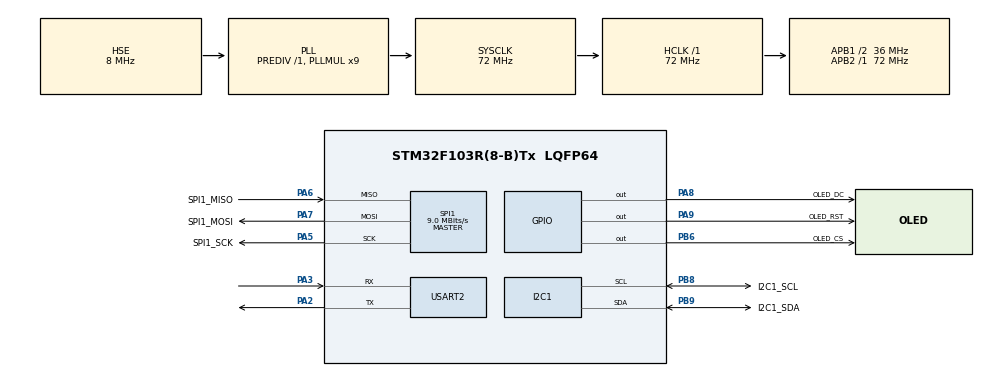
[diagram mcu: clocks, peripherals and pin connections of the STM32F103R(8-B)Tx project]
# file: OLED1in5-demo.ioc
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Mcu.Family=STM32F1
Mcu.Name=STM32F103R(8-B)Tx
Mcu.Package=LQFP64
NVIC.PriorityGroup=NVIC_PRIORITYGROUP_4
PA13.Mode=Serial_Wire
PA13.Signal=SYS_JTMS-SWDIO
PA14.Mode=Serial_Wire
PA14.Signal=SYS_JTCK-SWCLK
PA2.Mode=Asynchronous
PA2.Signal=USART2_TX
PA3.Mode=Asynchronous
PA3.Signal=USART2_RX
PA5.GPIO_Label=SPI1_SCK
PA5.Mode=Full_Duplex_Master
PA5.Signal=SPI1_SCK
PA6.GPIO_Label=SPI1_MISO
PA6.Mode=Full_Duplex_Master
PA6.Signal=SPI1_MISO
PA7.GPIO_Label=SPI1_MOSI
PA7.Mode=Full_Duplex_Master
PA7.Signal=SPI1_MOSI
PA8.GPIO_Label=OLED_DC
PA8.Signal=GPIO_Output
PA9.GPIO_Label=OLED_RST
PA9.Signal=GPIO_Output
PB6.GPIO_Label=OLED_CS
PB6.Signal=GPIO_Output
PB8.GPIO_Label=I2C1_SCL
PB8.Mode=I2C
PB8.Signal=I2C1_SCL
PB9.GPIO_Label=I2C1_SDA
PB9.Mode=I2C
PB9.Signal=I2C1_SDA
PD0-OSC_IN.Mode=HSE-External-Oscillator
PD0-OSC_IN.Signal=RCC_OSC_IN
PD1-OSC_OUT.Mode=HSE-External-Oscillator
PD1-OSC_OUT.Signal=RCC_OSC_OUT
ProjectManager.HeapSize=0x200
ProjectManager.StackSize=0x400
ProjectManager.TargetToolchain=MDK-ARM V5
RCC.AHBFreq_Value=72000000
RCC.APB1CLKDivider=RCC_HCLK_DIV2
RCC.APB1Freq_Value=36000000
RCC.APB1TimFreq_Value=72000000
RCC.APB2Freq_Value=72000000
RCC.APB2TimFreq_Value=72000000
RCC.HCLKFreq_Value=72000000
RCC.PLLMUL=RCC_PLL_MUL9
RCC.PLLSourceVirtual=RCC_PLLSOURCE_HSE
RCC.SYSCLKFreq_VALUE=72000000
RCC.SYSCLKSource=RCC_SYSCLKSOURCE_PLLCLK
RCC.USBFreq_Value=72000000
SPI1.BaudRatePrescaler=SPI_BAUDRATEPRESCALER_8
SPI1.CalculateBaudRate=9.0 MBits/s
SPI1.Direction=SPI_DIRECTION_2LINES
SPI1.Mode=SPI_MODE_MASTER
SPI1.VirtualType=VM_MASTER
USART2.VirtualMode=VM_ASYNC
board=OLED1in5-demo

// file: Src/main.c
/**
  ******************************************************************************
  * File Name          : main.c
  * Description        : Main program body
  ******************************************************************************
  ** This notice applies to any and all portions of this file
  * that are not between comment pairs USER CODE BEGIN and
  * USER CODE END. Other portions of this file, whether
  * inserted by the user or by software development tools
  * are owned by their respective copyright owners.
  *
  * COPYRIGHT(c) 2017 STMicroelectronics
  *
  * Redistribution and use in source and binary forms, with or without modification,
  * are permitted provided that the following conditions are met:
  *   1. Redistributions of source code must retain the above copyright notice,
  *      this list of conditions and the following disclaimer.
  *   2. Redistributions in binary form must reproduce the above copyright notice,
  *      this list of conditions and the following disclaimer in the documentation
  *      and/or other materials provided with the distribution.
  *   3. Neither the name of STMicroelectronics nor the names of its contributors
  *      may be used to endorse or promote products derived from this software
  *      without specific prior written permission.
  *
  * THIS SOFTWARE IS PROVIDED BY THE COPYRIGHT HOLDERS AND CONTRIBUTORS "AS IS"
  * AND ANY EXPRESS OR IMPLIED WARRANTIES, INCLUDING, BUT NOT LIMITED TO, THE
  * IMPLIED WARRANTIES OF MERCHANTABILITY AND FITNESS FOR A PARTICULAR PURPOSE ARE
  * DISCLAIMED. IN NO EVENT SHALL THE COPYRIGHT HOLDER OR CONTRIBUTORS BE LIABLE
  * FOR ANY DIRECT, INDIRECT, INCIDENTAL, SPECIAL, EXEMPLARY, OR CONSEQUENTIAL
  * DAMAGES (INCLUDING, BUT NOT LIMITED TO, PROCUREMENT OF SUBSTITUTE GOODS OR
  * SERVICES; LOSS OF USE, DATA, OR PROFITS; OR BUSINESS INTERRUPTION) HOWEVER
  * CAUSED AND ON ANY THEORY OF LIABILITY, WHETHER IN CONTRACT, STRICT LIABILITY,
  * OR TORT (INCLUDING NEGLIGENCE OR OTHERWISE) ARISING IN ANY WAY OUT OF THE USE
  * OF THIS SOFTWARE, EVEN IF ADVISED OF THE POSSIBILITY OF SUCH DAMAGE.
  *
  ******************************************************************************
  */
#include "main.h"
#include "stm32f1xx_hal.h"
#include "i2c.h"
#include "spi.h"
#include "usart.h"
#include "gpio.h"

/* USER CODE BEGIN Includes */
#include "OLED_Driver.h"
#include "OLED_GUI.h"

/* USER CODE END Includes */

/* USER CODE BEGIN PV */
/* Private variables ---------------------------------------------------------*/

/* USER CODE END PV */

void SystemClock_Config(void);

/* USER CODE BEGIN PFP */
/* Private function prototypes -----------------------------------------------*/

/* USER CODE END PFP */

int main(void)
{

  /* MCU Configuration----------------------------------------------------------*/

  /* Reset of all peripherals, Initializes the Flash interface and the Systick. */
  HAL_Init();

  /* Configure the system clock */
  SystemClock_Config();

  /* Initialize all configured peripherals */
  MX_GPIO_Init();
  MX_USART2_UART_Init();
  MX_I2C1_Init();
  MX_SPI1_Init();

  /* USER CODE BEGIN 2 */
	printf("**********1.5inch OLED Demo**********\r\n");
	System_Init();

	printf("OLED_Init()...\r\n");
	OLED_Init(SCAN_DIR_DFT );//SCAN_DIR_DFT = D2U_L2R

	printf("OLED_Show()...\r\n");
	GUI_Show();

	OLED_Clear(OLED_BACKGROUND);//OLED_BACKGROUND
	OLED_Display();

	printf("Show Pic\r\n");
	GUI_Disbitmap(0  , 2, Signal816  , 16, 8);
	GUI_Disbitmap(24 , 2, Bluetooth88, 8 , 8);
	GUI_Disbitmap(40 , 2, Msg816     , 16, 8);
	GUI_Disbitmap(64 , 2, GPRS88     , 8 , 8);
	GUI_Disbitmap(90 , 2, Alarm88    , 8 , 8);
	GUI_Disbitmap(112, 2, Bat816     , 16, 8);

	printf("Show 16 Gray Map\r\n");
	GUI_DisGrayMap(0, 73, gImage_flower);

	GUI_DisString_EN(0 , 52, "MUSIC", &Font12, FONT_BACKGROUND, WHITE);
	GUI_DisString_EN(48, 52, "MENU" , &Font12, FONT_BACKGROUND, WHITE);
	GUI_DisString_EN(90, 52, "PHONE", &Font12, FONT_BACKGROUND, WHITE);

	OLED_Display();

	printf("Show time\r\n");
  /* USER CODE END 2 */

  /* Infinite loop */
  /* USER CODE BEGIN WHILE */
  while (1)
  {
	uint8_t sec = 0;
	DEV_TIME sDev_time;
	sDev_time.Hour = 12;
	sDev_time.Min = 34;
	sDev_time.Sec = 56;
	for (;;) {
		sec++;
		sDev_time.Sec = sec;
		if (sec == 60) {
			sDev_time.Min = sDev_time.Min + 1;
			sec = 0;
			if (sDev_time.Min == 60) {
				sDev_time.Hour =  sDev_time.Hour + 1;
				sDev_time.Min = 0;
				if (sDev_time.Hour == 24) {
				  sDev_time.Hour = 0;
				  sDev_time.Min = 0;
				  sDev_time.Sec = 0;
				}
			}
		}
		GUI_Showtime(0, 22, 127, 47, &sDev_time, WHITE);
		Driver_Delay_ms(1000);//Analog clock 1s
	}
  /* USER CODE END WHILE */

  }

}

/** System Clock Configuration
*/
void SystemClock_Config(void)
{

  RCC_OscInitTypeDef RCC_OscInitStruct;
  RCC_ClkInitTypeDef RCC_ClkInitStruct;

    /**Initializes the CPU, AHB and APB busses clocks
    */
  RCC_OscInitStruct.OscillatorType = RCC_OSCILLATORTYPE_HSE;
  RCC_OscInitStruct.HSEState = RCC_HSE_ON;
  RCC_OscInitStruct.HSEPredivValue = RCC_HSE_PREDIV_DIV1;
  RCC_OscInitStruct.HSIState = RCC_HSI_ON;
  RCC_OscInitStruct.PLL.PLLState = RCC_PLL_ON;
  RCC_OscInitStruct.PLL.PLLSource = RCC_PLLSOURCE_HSE;
  RCC_OscInitStruct.PLL.PLLMUL = RCC_PLL_MUL9;
  if (HAL_RCC_OscConfig(&RCC_OscInitStruct) != HAL_OK)
  {
    _Error_Handler(__FILE__, __LINE__);
  }

    /**Initializes the CPU, AHB and APB busses clocks
    */
  RCC_ClkInitStruct.ClockType = RCC_CLOCKTYPE_HCLK|RCC_CLOCKTYPE_SYSCLK
                              |RCC_CLOCKTYPE_PCLK1|RCC_CLOCKTYPE_PCLK2;
  RCC_ClkInitStruct.SYSCLKSource = RCC_SYSCLKSOURCE_PLLCLK;
  RCC_ClkInitStruct.AHBCLKDivider = RCC_SYSCLK_DIV1;
  RCC_ClkInitStruct.APB1CLKDivider = RCC_HCLK_DIV2;
  RCC_ClkInitStruct.APB2CLKDivider = RCC_HCLK_DIV1;

  if (HAL_RCC_ClockConfig(&RCC_ClkInitStruct, FLASH_LATENCY_2) != HAL_OK)
  {
    _Error_Handler(__FILE__, __LINE__);
  }

    /**Configure the Systick interrupt time
    */
  HAL_SYSTICK_Config(HAL_RCC_GetHCLKFreq()/1000);

    /**Configure the Systick
    */
  HAL_SYSTICK_CLKSourceConfig(SYSTICK_CLKSOURCE_HCLK);

  /* SysTick_IRQn interrupt configuration */
  HAL_NVIC_SetPriority(SysTick_IRQn, 0, 0);
}

void _Error_Handler(char * file, int line)
{
  while(1)
  {
  }
}

/************************ (C) COPYRIGHT STMicroelectronics *****END OF FILE****/
